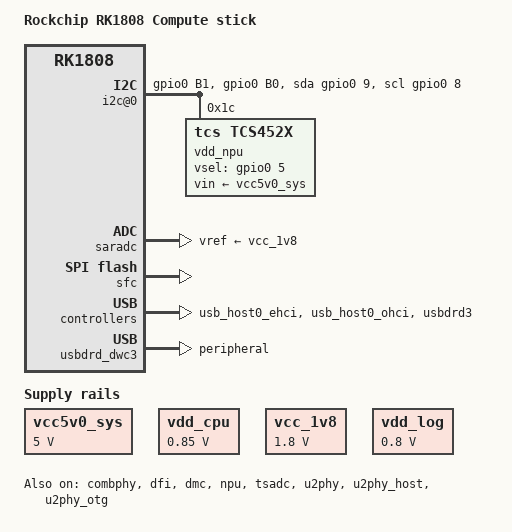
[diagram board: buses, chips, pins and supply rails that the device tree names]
// SPDX-License-Identifier: (GPL-2.0+ OR MIT)
// Copyright (c) 2018 Fuzhou Rockchip Electronics Co., Ltd.

#include <dt-bindings/display/media-bus-format.h>
#include <dt-bindings/gpio/gpio.h>
#include <dt-bindings/input/input.h>
#include <dt-bindings/pinctrl/rockchip.h>
#include <dt-bindings/sensor-dev.h>
#include "rk1808.dtsi"

/ {
	model = "Rockchip RK1808 Compute stick";
	compatible = "rockchip,rk1808-compute", "rockchip,rk1808";

	adc_key: adc-keys {
		compatible = "adc-keys";
		autorepeat;
		io-channels = <&saradc 2>;
		io-channel-names = "buttons";
		keyup-threshold-microvolt = <1800000>;
		poll-interval = <100>;
	};

	i2c@0 {
		compatible = "i2c-gpio";
		gpios = <&gpio0 9 GPIO_ACTIVE_HIGH>, /* sda */
			<&gpio0 8 GPIO_ACTIVE_HIGH>; /* scl */
		i2c-gpio,delay-us = <2>;        /* ~100 kHz */
		#address-cells = <1>;
		#size-cells = <0>;
		pinctrl-names = "default";
		pinctrl-0 = <&i2c0_gpio>;
		status = "okay";

		vdd_npu: tcs4525@1c {
			compatible = "tcs,tcs452x";
			reg = <0x1c>;
			vin-supply = <&vcc5v0_sys>;
			regulator-compatible = "fan53555-reg";
			pinctrl-names = "default";
			pinctrl-0 = <&en_gpio &vsel_gpio>;
			vsel-gpios = <&gpio0 5 GPIO_ACTIVE_HIGH>;
			regulator-name = "vdd_npu";
			regulator-min-microvolt = <750000>;
			regulator-max-microvolt = <950000>;
			regulator-ramp-delay = <2300>;
			fcs,suspend-voltage-selector = <0>;
			regulator-boot-on;
			regulator-state-mem {
				regulator-off-in-suspend;
			};
		};

	};

	fiq-debugger {
		compatible = "rockchip,fiq-debugger";
		rockchip,serial-id = <2>;
		rockchip,wake-irq = <0>;
		/* If enable uart uses irq instead of fiq */
		rockchip,irq-mode-enable = <0>;
		rockchip,baudrate = <1500000>;  /* Only 115200 and 1500000 */
		interrupts = <GIC_SPI 242 IRQ_TYPE_LEVEL_HIGH>;
		status = "okay";
	};

	reserved-memory {
		#address-cells = <2>;
		#size-cells = <2>;
		ranges;

		drm_logo: drm-logo@00000000 {
			compatible = "rockchip,drm-logo";
			reg = <0x0 0x0 0x0 0x0>;
		};

		ramoops_mem: region@110000 {
			reg = <0x0 0x110000 0x0 0xf0000>;
		};
	};

	ramoops: ramoops {
		compatible = "ramoops";
		record-size = <0x0 0x30000>;
		console-size = <0x0 0xc0000>;
		ftrace-size = <0x0 0x00000>;
		pmsg-size = <0x0 0x00000>;
		memory-region = <&ramoops_mem>;
	};

	vcc5v0_sys: vcc5v0-sys {
		compatible = "regulator-fixed";
		regulator-name = "vcc5v0_sys";
		regulator-always-on;
		regulator-boot-on;
		regulator-min-microvolt = <5000000>;
		regulator-max-microvolt = <5000000>;
	};

	vdd_cpu: vdd-cpu {
		compatible = "regulator-fixed";
		regulator-name = "vdd_cpu";
		regulator-always-on;
		regulator-boot-on;
		regulator-min-microvolt = <850000>;
		regulator-max-microvolt = <850000>;
	};

	vcc_1v8: vcc-1v8 {
		compatible = "regulator-fixed";
		regulator-name = "vcc_1v8";
		regulator-always-on;
		regulator-boot-on;
		regulator-min-microvolt = <1800000>;
		regulator-max-microvolt = <1800000>;
	};

	vdd_log: vdd-cpu {
		compatible = "regulator-fixed";
		regulator-name = "vdd_log";
		regulator-always-on;
		regulator-boot-on;
		regulator-min-microvolt = <800000>;
		regulator-max-microvolt = <800000>;
	};
};

&cpu0 {
	cpu-supply = <&vdd_cpu>;
};

&cpu1 {
	cpu-supply = <&vdd_cpu>;
};

&combphy {
	status = "okay";
};

&dfi {
	status = "okay";
};

&dmc {
	center-supply = <&vdd_log>;
	status = "okay";
	system-status-freq = <
		/*system status         freq(KHz)*/
		SYS_STATUS_NORMAL       784000
		SYS_STATUS_REBOOT       784000
	>;
};

&emmc {
	bus-width = <8>;
	cap-mmc-highspeed;
	max-frequency = <200000000>;
	mmc-hs200-1_8v;
	supports-emmc;
	non-removable;
	num-slots = <1>;
	status = "disabled";
};

&npu {
	npu-supply = <&vdd_npu>;
	status = "okay";
};

&power {
	pd_npu-supply = <&vdd_npu>;
};

&saradc {
	status = "okay";
	vref-supply = <&vcc_1v8>;
};

&sfc {
	status = "okay";
};

&tsadc {
	rockchip,hw-tshut-mode = <1>; /* tshut mode 0:CRU 1:GPIO */
	rockchip,hw-tshut-polarity = <1>; /* tshut polarity 0:LOW 1:HIGH */
	pinctrl-names = "gpio", "otpout";
	pinctrl-0 = <&tsadc_otp_gpio>;
	pinctrl-1 = <&tsadc_otp_out>;
	status = "okay";
};

&u2phy {
	status = "okay";
};

&u2phy_host {
	status = "okay";
};

&u2phy_otg {
	rockchip,vbus-always-on;
	status = "okay";
};

&usb_host0_ehci {
	status = "okay";
};

&usb_host0_ohci {
	status = "okay";
};

&usbdrd3 {
	status = "okay";
};

&usbdrd_dwc3 {
	dr_mode = "peripheral";
	status = "okay";
};

&pinctrl {

	pmic {
		en_gpio: en-gpio {
			rockchip,pins =
				<0 RK_PC4 0 &pcfg_pull_up>;
		};

		vsel_gpio: vsel-gpio {
				rockchip,pins =
				<0 RK_PA5 0 &pcfg_pull_down>;
		};
		i2c0_gpio: i2c0-gpio {
				rockchip,pins =
					/* i2c0_sda */
					<0 RK_PB1 0 &pcfg_pull_up>,
					/* i2c0_scl */
					<0 RK_PB0 0 &pcfg_pull_up>;
		};
	};
};
